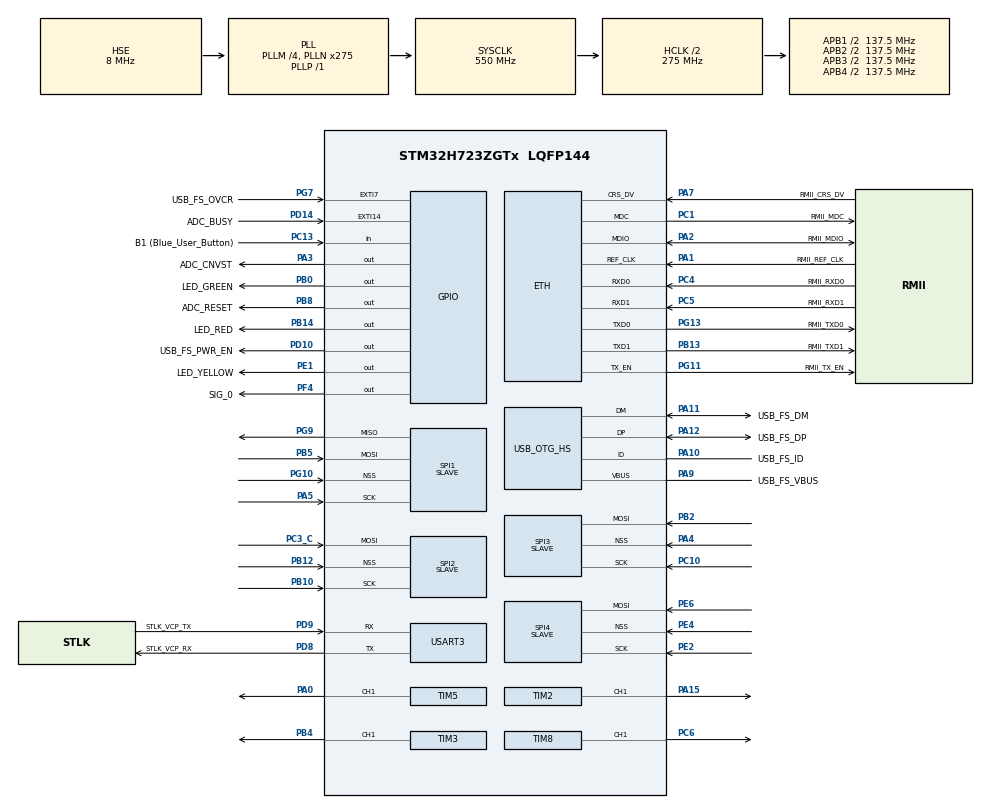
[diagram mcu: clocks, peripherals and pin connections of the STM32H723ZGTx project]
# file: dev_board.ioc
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Dma.Request0=SPI1_RX
Dma.Request1=SPI2_RX
Dma.Request2=SPI3_RX
Dma.Request3=SPI4_RX
Dma.Request4=TIM8_CH1
Dma.Request5=TIM5_CH1
Dma.SPI1_RX.0.Direction=DMA_PERIPH_TO_MEMORY
Dma.SPI1_RX.0.EventEnable=DISABLE
Dma.SPI1_RX.0.FIFOMode=DMA_FIFOMODE_DISABLE
Dma.SPI1_RX.0.Instance=DMA1_Stream0
Dma.SPI1_RX.0.MemDataAlignment=DMA_MDATAALIGN_HALFWORD
Dma.SPI1_RX.0.MemInc=DMA_MINC_ENABLE
Dma.SPI1_RX.0.Mode=DMA_CIRCULAR
Dma.SPI1_RX.0.PeriphDataAlignment=DMA_PDATAALIGN_HALFWORD
Dma.SPI1_RX.0.PeriphInc=DMA_PINC_DISABLE
Dma.SPI1_RX.0.Polarity=HAL_DMAMUX_REQ_GEN_RISING
Dma.SPI1_RX.0.Priority=DMA_PRIORITY_HIGH
Dma.SPI1_RX.0.RequestNumber=1
Dma.SPI1_RX.0.SignalID=NONE
Dma.SPI1_RX.0.SyncEnable=DISABLE
Dma.SPI1_RX.0.SyncPolarity=HAL_DMAMUX_SYNC_NO_EVENT
Dma.SPI1_RX.0.SyncRequestNumber=1
Dma.SPI1_RX.0.SyncSignalID=NONE
Dma.SPI2_RX.1.Direction=DMA_PERIPH_TO_MEMORY
Dma.SPI2_RX.1.EventEnable=DISABLE
Dma.SPI2_RX.1.FIFOMode=DMA_FIFOMODE_DISABLE
Dma.SPI2_RX.1.Instance=DMA1_Stream2
Dma.SPI2_RX.1.MemDataAlignment=DMA_MDATAALIGN_HALFWORD
Dma.SPI2_RX.1.MemInc=DMA_MINC_ENABLE
Dma.SPI2_RX.1.Mode=DMA_CIRCULAR
Dma.SPI2_RX.1.PeriphDataAlignment=DMA_PDATAALIGN_HALFWORD
Dma.SPI2_RX.1.PeriphInc=DMA_PINC_DISABLE
Dma.SPI2_RX.1.Polarity=HAL_DMAMUX_REQ_GEN_RISING
Dma.SPI2_RX.1.Priority=DMA_PRIORITY_HIGH
Dma.SPI2_RX.1.RequestNumber=1
Dma.SPI2_RX.1.SignalID=NONE
Dma.SPI2_RX.1.SyncEnable=DISABLE
Dma.SPI2_RX.1.SyncPolarity=HAL_DMAMUX_SYNC_NO_EVENT
Dma.SPI2_RX.1.SyncRequestNumber=1
Dma.SPI2_RX.1.SyncSignalID=NONE
Dma.SPI3_RX.2.Direction=DMA_PERIPH_TO_MEMORY
Dma.SPI3_RX.2.EventEnable=DISABLE
Dma.SPI3_RX.2.FIFOMode=DMA_FIFOMODE_DISABLE
Dma.SPI3_RX.2.Instance=DMA1_Stream3
Dma.SPI3_RX.2.MemDataAlignment=DMA_MDATAALIGN_HALFWORD
Dma.SPI3_RX.2.MemInc=DMA_MINC_ENABLE
Dma.SPI3_RX.2.Mode=DMA_CIRCULAR
Dma.SPI3_RX.2.PeriphDataAlignment=DMA_PDATAALIGN_HALFWORD
Dma.SPI3_RX.2.PeriphInc=DMA_PINC_DISABLE
Dma.SPI3_RX.2.Polarity=HAL_DMAMUX_REQ_GEN_RISING
Dma.SPI3_RX.2.Priority=DMA_PRIORITY_HIGH
Dma.SPI3_RX.2.RequestNumber=1
Dma.SPI3_RX.2.SignalID=NONE
Dma.SPI3_RX.2.SyncEnable=DISABLE
Dma.SPI3_RX.2.SyncPolarity=HAL_DMAMUX_SYNC_NO_EVENT
Dma.SPI3_RX.2.SyncRequestNumber=1
Dma.SPI3_RX.2.SyncSignalID=NONE
Dma.SPI4_RX.3.Direction=DMA_PERIPH_TO_MEMORY
Dma.SPI4_RX.3.EventEnable=DISABLE
Dma.SPI4_RX.3.FIFOMode=DMA_FIFOMODE_DISABLE
Dma.SPI4_RX.3.Instance=DMA1_Stream4
Dma.SPI4_RX.3.MemDataAlignment=DMA_MDATAALIGN_HALFWORD
Dma.SPI4_RX.3.MemInc=DMA_MINC_ENABLE
Dma.SPI4_RX.3.Mode=DMA_CIRCULAR
Dma.SPI4_RX.3.PeriphDataAlignment=DMA_PDATAALIGN_HALFWORD
Dma.SPI4_RX.3.PeriphInc=DMA_PINC_DISABLE
Dma.SPI4_RX.3.Polarity=HAL_DMAMUX_REQ_GEN_RISING
Dma.SPI4_RX.3.Priority=DMA_PRIORITY_HIGH
Dma.SPI4_RX.3.RequestNumber=1
Dma.SPI4_RX.3.SignalID=NONE
Dma.SPI4_RX.3.SyncEnable=DISABLE
Dma.SPI4_RX.3.SyncPolarity=HAL_DMAMUX_SYNC_NO_EVENT
Dma.SPI4_RX.3.SyncRequestNumber=1
Dma.SPI4_RX.3.SyncSignalID=NONE
Dma.TIM5_CH1.5.Direction=DMA_PERIPH_TO_MEMORY
Dma.TIM5_CH1.5.EventEnable=DISABLE
Dma.TIM5_CH1.5.FIFOMode=DMA_FIFOMODE_DISABLE
Dma.TIM5_CH1.5.Instance=DMA1_Stream5
Dma.TIM5_CH1.5.MemDataAlignment=DMA_MDATAALIGN_WORD
Dma.TIM5_CH1.5.MemInc=DMA_MINC_ENABLE
Dma.TIM5_CH1.5.Mode=DMA_CIRCULAR
Dma.TIM5_CH1.5.PeriphDataAlignment=DMA_PDATAALIGN_WORD
Dma.TIM5_CH1.5.PeriphInc=DMA_PINC_DISABLE
Dma.TIM5_CH1.5.Polarity=HAL_DMAMUX_REQ_GEN_RISING
Dma.TIM5_CH1.5.Priority=DMA_PRIORITY_LOW
Dma.TIM5_CH1.5.RequestNumber=1
Dma.TIM5_CH1.5.SignalID=NONE
Dma.TIM5_CH1.5.SyncEnable=DISABLE
Dma.TIM5_CH1.5.SyncPolarity=HAL_DMAMUX_SYNC_NO_EVENT
Dma.TIM5_CH1.5.SyncRequestNumber=1
Dma.TIM5_CH1.5.SyncSignalID=NONE
Dma.TIM8_CH1.4.Direction=DMA_PERIPH_TO_MEMORY
Dma.TIM8_CH1.4.EventEnable=DISABLE
Dma.TIM8_CH1.4.FIFOMode=DMA_FIFOMODE_DISABLE
Dma.TIM8_CH1.4.Instance=DMA1_Stream1
Dma.TIM8_CH1.4.MemDataAlignment=DMA_MDATAALIGN_WORD
Dma.TIM8_CH1.4.MemInc=DMA_MINC_ENABLE
Dma.TIM8_CH1.4.Mode=DMA_CIRCULAR
Dma.TIM8_CH1.4.PeriphDataAlignment=DMA_PDATAALIGN_WORD
Dma.TIM8_CH1.4.PeriphInc=DMA_PINC_DISABLE
Dma.TIM8_CH1.4.Polarity=HAL_DMAMUX_REQ_GEN_RISING
Dma.TIM8_CH1.4.Priority=DMA_PRIORITY_LOW
Dma.TIM8_CH1.4.RequestNumber=1
Dma.TIM8_CH1.4.SignalID=NONE
Dma.TIM8_CH1.4.SyncEnable=DISABLE
Dma.TIM8_CH1.4.SyncPolarity=HAL_DMAMUX_SYNC_NO_EVENT
Dma.TIM8_CH1.4.SyncRequestNumber=1
Dma.TIM8_CH1.4.SyncSignalID=NONE
ETH.MediaInterface=HAL_ETH_RMII_MODE
Mcu.Family=STM32H7
Mcu.Name=STM32H723ZGTx
Mcu.Package=LQFP144
NVIC.DMA1_Stream0_IRQn=true\:0\:0\:false\:false\:true\:false\:true\:true
NVIC.DMA1_Stream1_IRQn=true\:0\:0\:false\:false\:true\:false\:true\:true
NVIC.DMA1_Stream2_IRQn=true\:0\:0\:false\:false\:true\:false\:true\:true
NVIC.DMA1_Stream3_IRQn=true\:0\:0\:false\:false\:true\:false\:true\:true
NVIC.DMA1_Stream4_IRQn=true\:0\:0\:false\:false\:true\:false\:true\:true
NVIC.DMA1_Stream5_IRQn=true\:0\:0\:false\:false\:true\:false\:true\:true
NVIC.EXTI15_10_IRQn=true\:0\:0\:false\:false\:true\:true\:true\:true
NVIC.PriorityGroup=NVIC_PRIORITYGROUP_4
NVIC.SPI1_IRQn=true\:0\:0\:false\:false\:true\:true\:true\:true
NVIC.SPI2_IRQn=true\:0\:0\:false\:false\:true\:false\:true\:true
NVIC.SPI3_IRQn=true\:0\:0\:false\:false\:true\:false\:true\:true
NVIC.SPI4_IRQn=true\:0\:0\:false\:false\:true\:false\:true\:true
PA0.Signal=S_TIM5_CH1
PA1.GPIO_Label=RMII_REF_CLK
PA1.Mode=RMII
PA1.Signal=ETH_REF_CLK
PA10.GPIO_Label=USB_FS_ID
PA10.Mode=OTG/Dual-Role-Device-FS
PA10.Signal=USB_OTG_HS_ID
PA11.GPIO_Label=USB_FS_DM
PA11.Mode=OTG/Dual-Role-Device-FS
PA11.Signal=USB_OTG_HS_DM
PA12.GPIO_Label=USB_FS_DP
PA12.Mode=OTG/Dual-Role-Device-FS
PA12.Signal=USB_OTG_HS_DP
PA13(JTMS/SWDIO).GPIO_Label=SWDIO
PA13(JTMS/SWDIO).Mode=Trace_Asynchronous_SW
PA13(JTMS/SWDIO).Signal=DEBUG_JTMS-SWDIO
PA14(JTCK/SWCLK).GPIO_Label=SWCLK
PA14(JTCK/SWCLK).Mode=Trace_Asynchronous_SW
PA14(JTCK/SWCLK).Signal=DEBUG_JTCK-SWCLK
PA15(JTDI).Signal=S_TIM2_CH1_ETR
PA2.GPIO_Label=RMII_MDIO
PA2.Mode=RMII
PA2.Signal=ETH_MDIO
PA3.GPIO_Label=ADC_CNVST
PA3.Signal=GPIO_Output
PA4.Mode=NSS_Signal_Hard_Input
PA4.Signal=SPI3_NSS
PA5.Mode=Full_Duplex_Slave
PA5.Signal=SPI1_SCK
PA7.GPIO_Label=RMII_CRS_DV
PA7.Mode=RMII
PA7.Signal=ETH_CRS_DV
PA8.Signal=S_TIM1_CH1
PA9.GPIO_Label=USB_FS_VBUS
PA9.Mode=Activate_VBUS_FS
PA9.Signal=USB_OTG_HS_VBUS
PB0.GPIO_Label=LED_GREEN
PB0.Signal=GPIO_Output
PB10.Mode=RX_Only_Simplex_Unidirect_Slave
PB10.Signal=SPI2_SCK
PB12.Mode=NSS_Signal_Hard_Input
PB12.Signal=SPI2_NSS
PB13.GPIO_Label=RMII_TXD1
PB13.Mode=RMII
PB13.Signal=ETH_TXD1
PB14.GPIO_Label=LED_RED
PB14.Signal=GPIO_Output
PB2.Mode=RX_Only_Simplex_Unidirect_Slave
PB2.Signal=SPI3_MOSI
PB3(JTDO/TRACESWO).GPIO_Label=SWO
PB3(JTDO/TRACESWO).Mode=Trace_Asynchronous_SW
PB3(JTDO/TRACESWO).Signal=DEBUG_JTDO-SWO
PB4(NJTRST).Signal=S_TIM3_CH1
PB5.Mode=Full_Duplex_Slave
PB5.Signal=SPI1_MOSI
PB8.GPIO_Label=ADC_RESET
PB8.Signal=GPIO_Output
PC1.GPIO_Label=RMII_MDC
PC1.Mode=RMII
PC1.Signal=ETH_MDC
PC10.Mode=RX_Only_Simplex_Unidirect_Slave
PC10.Signal=SPI3_SCK
PC13.GPIO_Label=B1 (Blue_User_Button)
PC13.Signal=GPIO_Input
PC14-OSC32_IN.Mode=LSE-External-Oscillator
PC14-OSC32_IN.Signal=RCC_OSC32_IN
PC15-OSC32_OUT.Mode=LSE-External-Oscillator
PC15-OSC32_OUT.Signal=RCC_OSC32_OUT
PC3_C.Mode=RX_Only_Simplex_Unidirect_Slave
PC3_C.Signal=SPI2_MOSI
PC4.GPIO_Label=RMII_RXD0
PC4.Mode=RMII
PC4.Signal=ETH_RXD0
PC5.GPIO_Label=RMII_RXD1
PC5.Mode=RMII
PC5.Signal=ETH_RXD1
PC6.Signal=S_TIM8_CH1
PD10.GPIO_Label=USB_FS_PWR_EN
PD10.Signal=GPIO_Output
PD14.GPIO_Label=ADC_BUSY
PD14.GPIO_ModeDefaultEXTI=GPIO_MODE_IT_FALLING
PD14.Signal=GPXTI14
PD8.GPIO_Label=STLK_VCP_RX
PD8.Mode=Asynchronous
PD8.Signal=USART3_TX
PD9.GPIO_Label=STLK_VCP_TX
PD9.Mode=Asynchronous
PD9.Signal=USART3_RX
PE1.GPIO_Label=LED_YELLOW
PE1.Signal=GPIO_Output
PE2.Mode=RX_Only_Simplex_Unidirect_Slave
PE2.Signal=SPI4_SCK
PE4.Mode=NSS_Signal_Hard_Input
PE4.Signal=SPI4_NSS
PE6.Mode=RX_Only_Simplex_Unidirect_Slave
PE6.Signal=SPI4_MOSI
PF4.GPIO_Label=SIG_0
PF4.Signal=GPIO_Output
PG10.Mode=NSS_Signal_Hard_Input
PG10.Signal=SPI1_NSS
PG11.GPIO_Label=RMII_TX_EN
PG11.Mode=RMII
PG11.Signal=ETH_TX_EN
PG13.GPIO_Label=RMII_TXD0
PG13.Mode=RMII
PG13.Signal=ETH_TXD0
PG7.GPIO_Label=USB_FS_OVCR
PG7.Signal=GPXTI7
PG9.Mode=Full_Duplex_Slave
PG9.Signal=SPI1_MISO
PH0-OSC_IN.GPIO_Label=MCO
PH0-OSC_IN.Mode=HSE-External-Clock-Source
PH0-OSC_IN.Signal=RCC_OSC_IN
PH1-OSC_OUT.Signal=RCC_OSC_OUT
ProjectManager.HeapSize=0x200
ProjectManager.StackSize=0x400
ProjectManager.TargetToolchain=STM32CubeIDE
RCC.ADCFreq_Value=76000000
RCC.APB1Freq_Value=137500000
RCC.APB2Freq_Value=137500000
RCC.APB3Freq_Value=137500000
RCC.APB4Freq_Value=137500000
RCC.CortexFreq_Value=550000000
RCC.D1PPRE=RCC_APB3_DIV2
RCC.D2PPRE1=RCC_APB1_DIV2
RCC.D2PPRE2=RCC_APB2_DIV2
RCC.D3PPRE=RCC_APB4_DIV2
RCC.DIVM1=4
RCC.DIVM2=1
RCC.DIVN1=275
RCC.DIVN2=19
RCC.DIVP1=1
RCC.DIVQ1=4
RCC.HCLKFreq_Value=275000000
RCC.HPRE=RCC_HCLK_DIV2
RCC.HSE_VALUE=8000000
RCC.PLLFRACN=0
RCC.PLLSourceVirtual=RCC_PLLSOURCE_HSE
RCC.SYSCLKFreq_VALUE=550000000
RCC.SYSCLKSource=RCC_SYSCLKSOURCE_PLLCLK
RCC.USBCLockSelection=RCC_USBCLKSOURCE_HSI48
RCC.USBFreq_Value=48000000
SH.S_TIM1_CH1.0=TIM1_CH1
SH.S_TIM2_CH1_ETR.0=TIM2_CH1,PWM Generation1 CH1
SH.S_TIM3_CH1.0=TIM3_CH1,PWM Generation1 CH1
SH.S_TIM5_CH1.0=TIM5_CH1,PWM Generation1 CH1
SH.S_TIM8_CH1.0=TIM8_CH1,PWM Generation1 CH1
SPI1.CLKPhase=SPI_PHASE_1EDGE
SPI1.CLKPolarity=SPI_POLARITY_LOW
SPI1.DataSize=SPI_DATASIZE_16BIT
SPI1.Direction=SPI_DIRECTION_2LINES
SPI1.Mode=SPI_MODE_SLAVE
SPI1.VirtualNSS=VM_NSSHARD
SPI1.VirtualType=VM_SLAVE
SPI2.Direction=SPI_DIRECTION_2LINES_RXONLY
SPI2.Mode=SPI_MODE_SLAVE
SPI2.VirtualNSS=VM_NSSHARD
SPI2.VirtualType=VM_SLAVE
SPI3.Direction=SPI_DIRECTION_2LINES_RXONLY
SPI3.Mode=SPI_MODE_SLAVE
SPI3.VirtualNSS=VM_NSSHARD
SPI3.VirtualType=VM_SLAVE
SPI4.Direction=SPI_DIRECTION_2LINES_RXONLY
SPI4.Mode=SPI_MODE_SLAVE
SPI4.VirtualNSS=VM_NSSHARD
SPI4.VirtualType=VM_SLAVE
TIM2.Channel-PWM\ Generation1\ CH1=TIM_CHANNEL_1
TIM2.CounterMode=TIM_COUNTERMODE_DOWN
TIM2.Period=572
TIM2.Prescaler=0
TIM2.Pulse-PWM\ Generation1\ CH1=247
TIM2.TIM_MasterOutputTrigger=TIM_TRGO_UPDATE
TIM2.TIM_MasterSlaveMode=TIM_MASTERSLAVEMODE_ENABLE
TIM3.Channel-PWM\ Generation1\ CH1=TIM_CHANNEL_1
TIM3.CounterMode=TIM_COUNTERMODE_UP
TIM3.OCPolarity_1=TIM_OCPOLARITY_HIGH
TIM3.Period=479
TIM3.Pulse-PWM\ Generation1\ CH1=1
TIM3.TIM_MasterOutputTrigger=TIM_TRGO_RESET
TIM4.Period=2
TIM4.TIM_MasterOutputTrigger=TIM_TRGO_UPDATE
TIM5.Channel-PWM\ Generation1\ CH1=TIM_CHANNEL_1
TIM5.Period=17
TIM5.Pulse-PWM\ Generation1\ CH1=13
TIM8.Channel-PWM\ Generation1\ CH1=TIM_CHANNEL_1
TIM8.OCFastMode_PWM-PWM\ Generation1\ CH1=TIM_OCFAST_ENABLE
TIM8.OCPolarity_1=TIM_OCPOLARITY_HIGH
TIM8.Period=53
TIM8.Prescaler=0
TIM8.Pulse-PWM\ Generation1\ CH1=40
TIM8.RepetitionCounter=7
TIM8.TIM_MasterOutputTrigger=TIM_TRGO_OC1REF
USART3.VirtualMode-Asynchronous=VM_ASYNC
VP_TIM3_VS_ClockSourceITR.Mode=TriggerSource_ITR1
VP_TIM3_VS_ControllerModeTrigger.Mode=Trigger Mode
VP_TIM3_VS_OPM.Mode=OPM_bit
VP_TIM4_VS_ClockSourceITR.Mode=TriggerSource_ITR1
VP_TIM4_VS_ControllerModeTrigger.Mode=Trigger Mode
VP_TIM4_VS_OPM.Mode=OPM_bit
VP_TIM5_VS_ClockSourceITR.Mode=TriggerSource_ITR1
VP_TIM5_VS_ControllerModeTrigger.Mode=Trigger Mode
VP_TIM5_VS_OPM.Mode=OPM_bit
VP_TIM8_VS_ClockSourceITR.Mode=TriggerSource_ITR2
VP_TIM8_VS_ControllerModeTrigger.Mode=Trigger Mode
VP_TIM8_VS_OPM.Mode=OPM_bit
board=NUCLEO-H723ZG

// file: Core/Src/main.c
/* USER CODE BEGIN Header */
/**
  ******************************************************************************
  * @file           : main.c
  * @brief          : Main program body
  ******************************************************************************
  * @attention
  *
  * Copyright (c) 2023 STMicroelectronics.
  * All rights reserved.
  *
  * This software is licensed under terms that can be found in the LICENSE file
  * in the root directory of this software component.
  * If no LICENSE file comes with this software, it is provided AS-IS.
  *
  ******************************************************************************
  */
/* USER CODE END Header */
#include "main.h"
#include "dma.h"
#include "eth.h"
#include "spi.h"
#include "tim.h"
#include "usart.h"
#include "usb_otg.h"
#include "gpio.h"

/* USER CODE BEGIN PD */
//#define SERIAL_NPARA

/* USER CODE END PD */

/* USER CODE BEGIN PV */

volatile static uint16_t data_buffer[4][1024];
volatile static uint32_t rx_buffer[1024*8];

/* USER CODE END PV */

void SystemClock_Config(void);
/* USER CODE BEGIN PFP */
void DMA_TIM8_callback(DMA_HandleTypeDef* hdma);

/* USER CODE END PFP */

int main(void)
{

  /* MCU Configuration--------------------------------------------------------*/

  /* Reset of all peripherals, Initializes the Flash interface and the Systick. */
  HAL_Init();

  /* Configure the system clock */
  SystemClock_Config();

  /* Initialize all configured peripherals */
  MX_GPIO_Init();
  MX_DMA_Init();
  MX_USB_OTG_HS_USB_Init();
  MX_ETH_Init();
  MX_SPI1_Init();
  MX_TIM8_Init();
  MX_TIM2_Init();
  MX_USART3_UART_Init();
  MX_TIM3_Init();
  MX_SPI2_Init();
  MX_SPI3_Init();
  MX_SPI4_Init();
  MX_TIM4_Init();
  MX_TIM5_Init();
  /* USER CODE BEGIN 2 */

  // Disable the count.
  //TIM8->CR1 &= ~TIM_CR1_CEN;
  // Select TI2 as the input.
  //TIM8->CCMR1 |= TIM_CCMR1_CC2S_0;
  // ?
  //TIM8->CCER |= TIM_CCER_CC2P;
  //TIM8->ARR = 11;
  //TIM8->CCR1 = 6;
  //TIM8->RCR = 32;

  // Disable the count.
  //TIM3->CR1 &= ~TIM_CR1_CEN;
  // Select TI2 as the input.
  //TIM3->CCMR1 |= TIM_CCMR1_CC2S_0;
  // ?
  //TIM3->CCER |= TIM_CCER_CC2P;
  //TIM3->ARR = 399;
  //TIM3->CCR1 = 1;

#ifndef SERIAL_NPARA
  CLEAR_BIT(TIM8->CR1, TIM_CR1_ARPE);
  TIM8->ARR = 53; //27
  TIM8->CCR1 = 40; //14
  TIM8->RCR = 7;
  SET_BIT(TIM8->CR1, TIM_CR1_ARPE);

  //SET_BIT(TIM8->CCER, TIM_CCER_CC1P);
#endif

  // Reset the ADC.
  HAL_GPIO_WritePin(ADC_RESET_GPIO_Port, ADC_RESET_Pin, GPIO_PIN_SET);
  HAL_Delay(1); // > 3 us
  HAL_GPIO_WritePin(ADC_RESET_GPIO_Port, ADC_RESET_Pin, GPIO_PIN_RESET);
  HAL_Delay(1); // > 253 us

#ifndef SERIAL_NPARA
  GPIOE->MODER = 0x00000000UL;

  __HAL_TIM_ENABLE_DMA(&htim5, TIM_DMA_CC1);
  htim5.hdma[TIM_DMA_ID_CC1]->XferCpltCallback = DMA_TIM8_callback;
  HAL_DMA_Start_IT(htim5.hdma[TIM_DMA_ID_CC1], (uint32_t)&GPIOE->IDR, (uint32_t)rx_buffer, 1024*8);
#endif

  // Start the SCLK timer, the nCS timer, and the CONVST timer respectively.
  HAL_TIM_PWM_Start(&htim5, TIM_CHANNEL_1);
  HAL_TIM_PWM_Start(&htim8, TIM_CHANNEL_1);
  HAL_TIM_PWM_Start(&htim3, TIM_CHANNEL_1);
  HAL_TIM_PWM_Start(&htim4, TIM_CHANNEL_1);
  HAL_TIM_PWM_Start(&htim2, TIM_CHANNEL_1);

#ifdef SERIAL_NPARA
  // Write to the configuration register that four data lines are needed.
  uint16_t tx_buffer[2] = {0x0210, 0x0000};
  uint16_t rx_buffer[2] = {0xAAAA, 0x0008};
  do {
	  tx_buffer[0] = 0x0210;
	  HAL_SPI_Transmit(&hspi1, (uint8_t*)&tx_buffer[0], 1, HAL_MAX_DELAY);
	  tx_buffer[0] = 0x4210;
	  HAL_SPI_TransmitReceive(&hspi1, (uint8_t*)&tx_buffer, (uint8_t*)&rx_buffer, 2, HAL_MAX_DELAY);
  } while(rx_buffer[1] != 0x0010);

  // Begin receiving data.
  CLEAR_BIT(TIM2->CR1, TIM_CR1_CEN);
  HAL_SPI_Receive_DMA(&hspi1, (uint8_t*)data_buffer[0], 1024);
  HAL_SPI_Receive_DMA(&hspi2, (uint8_t*)data_buffer[1], 1024);
  HAL_SPI_Receive_DMA(&hspi3, (uint8_t*)data_buffer[2], 1024);
  HAL_SPI_Receive_DMA(&hspi4, (uint8_t*)data_buffer[3], 1024);
  SET_BIT(TIM2->CR1, TIM_CR1_CEN);
#endif

  /* USER CODE END 2 */

  /* Infinite loop */
  /* USER CODE BEGIN WHILE */
  while (1)
  {
	  HAL_GPIO_TogglePin(LED_GREEN_GPIO_Port, LED_GREEN_Pin);
	  HAL_Delay(500);
    /* USER CODE END WHILE */

  }
}

void SystemClock_Config(void)
{
  RCC_OscInitTypeDef RCC_OscInitStruct = {0};
  RCC_ClkInitTypeDef RCC_ClkInitStruct = {0};

  /** Supply configuration update enable
  */
  HAL_PWREx_ConfigSupply(PWR_LDO_SUPPLY);

  /** Configure the main internal regulator output voltage
  */
  __HAL_PWR_VOLTAGESCALING_CONFIG(PWR_REGULATOR_VOLTAGE_SCALE0);

  while(!__HAL_PWR_GET_FLAG(PWR_FLAG_VOSRDY)) {}

  /** Initializes the RCC Oscillators according to the specified parameters
  * in the RCC_OscInitTypeDef structure.
  */
  RCC_OscInitStruct.OscillatorType = RCC_OSCILLATORTYPE_HSI48|RCC_OSCILLATORTYPE_HSE;
  RCC_OscInitStruct.HSEState = RCC_HSE_BYPASS;
  RCC_OscInitStruct.HSI48State = RCC_HSI48_ON;
  RCC_OscInitStruct.PLL.PLLState = RCC_PLL_ON;
  RCC_OscInitStruct.PLL.PLLSource = RCC_PLLSOURCE_HSE;
  RCC_OscInitStruct.PLL.PLLM = 4;
  RCC_OscInitStruct.PLL.PLLN = 275;
  RCC_OscInitStruct.PLL.PLLP = 1;
  RCC_OscInitStruct.PLL.PLLQ = 4;
  RCC_OscInitStruct.PLL.PLLR = 2;
  RCC_OscInitStruct.PLL.PLLRGE = RCC_PLL1VCIRANGE_1;
  RCC_OscInitStruct.PLL.PLLVCOSEL = RCC_PLL1VCOWIDE;
  RCC_OscInitStruct.PLL.PLLFRACN = 0;
  if (HAL_RCC_OscConfig(&RCC_OscInitStruct) != HAL_OK)
  {
    Error_Handler();
  }

  /** Initializes the CPU, AHB and APB buses clocks
  */
  RCC_ClkInitStruct.ClockType = RCC_CLOCKTYPE_HCLK|RCC_CLOCKTYPE_SYSCLK
                              |RCC_CLOCKTYPE_PCLK1|RCC_CLOCKTYPE_PCLK2
                              |RCC_CLOCKTYPE_D3PCLK1|RCC_CLOCKTYPE_D1PCLK1;
  RCC_ClkInitStruct.SYSCLKSource = RCC_SYSCLKSOURCE_PLLCLK;
  RCC_ClkInitStruct.SYSCLKDivider = RCC_SYSCLK_DIV1;
  RCC_ClkInitStruct.AHBCLKDivider = RCC_HCLK_DIV2;
  RCC_ClkInitStruct.APB3CLKDivider = RCC_APB3_DIV2;
  RCC_ClkInitStruct.APB1CLKDivider = RCC_APB1_DIV2;
  RCC_ClkInitStruct.APB2CLKDivider = RCC_APB2_DIV2;
  RCC_ClkInitStruct.APB4CLKDivider = RCC_APB4_DIV2;

  if (HAL_RCC_ClockConfig(&RCC_ClkInitStruct, FLASH_LATENCY_3) != HAL_OK)
  {
    Error_Handler();
  }
}

/* USER CODE BEGIN 4 */

void HAL_SPI_TxCpltCallback(SPI_HandleTypeDef *hspi) {
	if (hspi == &hspi1) {
		volatile int robert_frost = 0;
	}
}

void HAL_SPI_RxCpltCallback(SPI_HandleTypeDef *hspi) {
	if (hspi == &hspi1) {
		volatile int robert_frost = 0;
	}
}

void DMA_TIM8_callback(DMA_HandleTypeDef* hdma) {
	if (hdma == htim5.hdma[TIM_DMA_ID_CC1]) {
		volatile int robert_frost = 0;
		HAL_GPIO_TogglePin(SIG_0_GPIO_Port, SIG_0_Pin);
	}
}

/* USER CODE END 4 */

void Error_Handler(void)
{
  __disable_irq();
  while (1)
  {
  }
}
